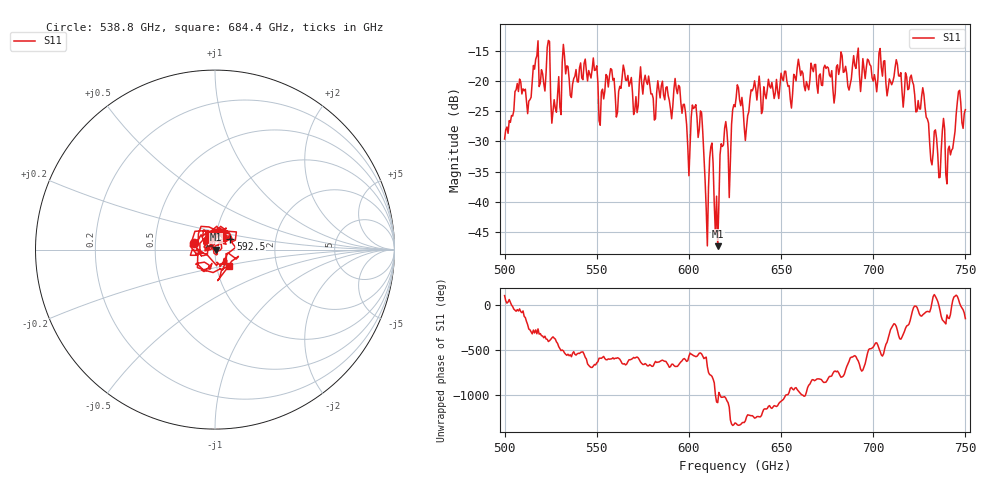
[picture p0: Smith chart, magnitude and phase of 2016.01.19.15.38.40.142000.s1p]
!Created with skrf (http://scikit-rf.org).
# GHz S RI R 50.0
!freq ReS11 ImS11
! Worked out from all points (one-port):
!   401 points, 500 GHz to 750 GHz, reference 50 ohm
!   lowest |S11| = -47.3 dB at 615.6 GHz (marker M1), VSWR 1.01, Z = 50.4 - j0.0718 ohm
!   |S11| at or under -10 dB: start of sweep to end of sweep
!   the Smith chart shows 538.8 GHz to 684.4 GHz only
!   S11 on the Smith chart (normalised r, x): 538.8 GHz: 0.79, +0.06; 592.5 GHz: 1.18, +0.15; 684.4 GHz: 1.15, -0.21
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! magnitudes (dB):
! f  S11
! 500 GHz  -29.6
! 507.5 GHz  -21.8
! 513.1 GHz  -23.4
! 516.9 GHz  -16.4
! 523.8 GHz  -13.3
! 526.9 GHz  -23.1
! 531.2 GHz  -16.9
! 538.8 GHz  -18.1
! 562.5 GHz  -20.9
! 592.5 GHz  -19.6
! 593.8 GHz  -22.1
! 599.4 GHz  -30.8
! 606.2 GHz  -25.0
! 609.4 GHz  -41.1
! 611.9 GHz  -30.9
! 615.6 GHz  -47.3
! 618.1 GHz  -30.8
! 621.9 GHz  -39.3
! 625 GHz  -24.3
! 631.2 GHz  -27.7
! 635 GHz  -21.1
! 656.2 GHz  -22.1
! 684.4 GHz  -18.5
! 687.5 GHz  -20.6
! 718.8 GHz  -21.5
! 735.6 GHz  -36.0
! 746.2 GHz  -21.8
! 750 GHz  -24.8
